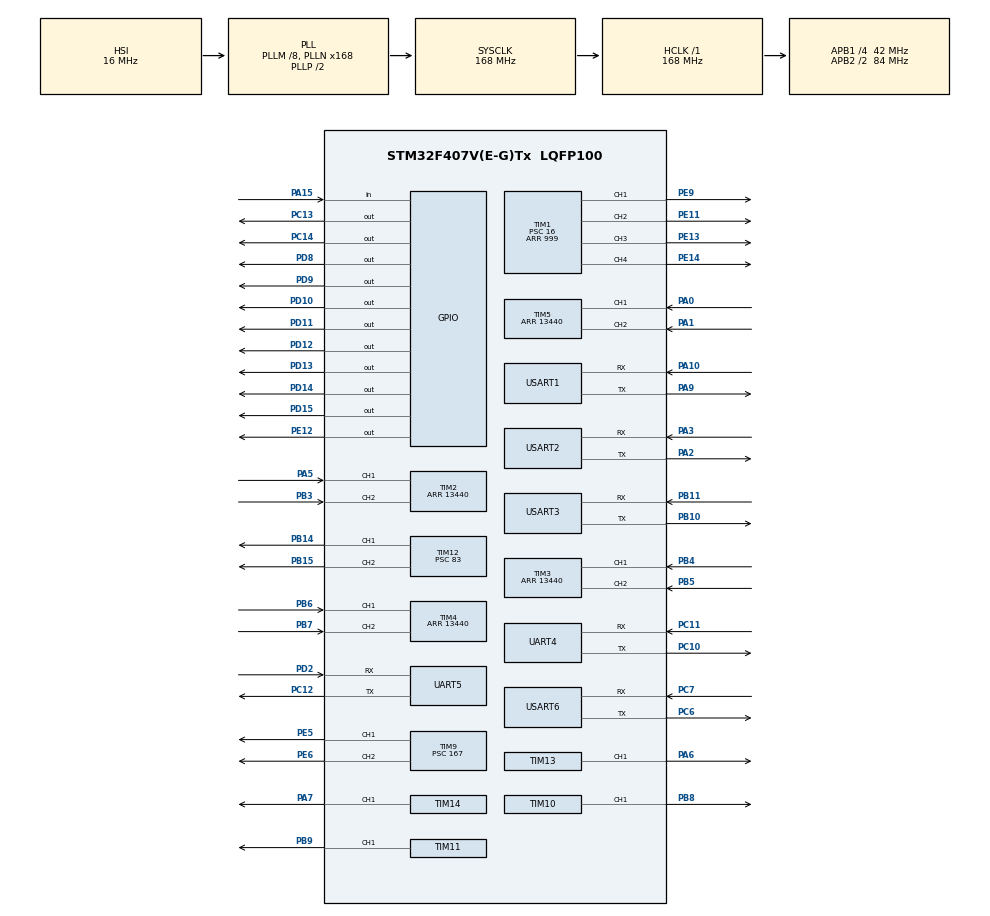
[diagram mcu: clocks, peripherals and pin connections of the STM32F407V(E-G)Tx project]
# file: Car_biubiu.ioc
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Dma.Request0=USART1_RX
Dma.Request1=USART1_TX
Dma.Request2=USART2_RX
Dma.Request3=USART6_RX
Dma.Request4=USART3_RX
Dma.Request5=USART3_TX
Dma.Request6=USART6_TX
Dma.Request7=UART4_RX
Dma.Request8=UART5_RX
Dma.UART4_RX.7.Direction=DMA_PERIPH_TO_MEMORY
Dma.UART4_RX.7.FIFOMode=DMA_FIFOMODE_DISABLE
Dma.UART4_RX.7.Instance=DMA1_Stream2
Dma.UART4_RX.7.MemDataAlignment=DMA_MDATAALIGN_BYTE
Dma.UART4_RX.7.MemInc=DMA_MINC_ENABLE
Dma.UART4_RX.7.Mode=DMA_NORMAL
Dma.UART4_RX.7.PeriphDataAlignment=DMA_PDATAALIGN_BYTE
Dma.UART4_RX.7.PeriphInc=DMA_PINC_DISABLE
Dma.UART4_RX.7.Priority=DMA_PRIORITY_LOW
Dma.UART5_RX.8.Direction=DMA_PERIPH_TO_MEMORY
Dma.UART5_RX.8.FIFOMode=DMA_FIFOMODE_DISABLE
Dma.UART5_RX.8.Instance=DMA1_Stream0
Dma.UART5_RX.8.MemDataAlignment=DMA_MDATAALIGN_BYTE
Dma.UART5_RX.8.MemInc=DMA_MINC_ENABLE
Dma.UART5_RX.8.Mode=DMA_NORMAL
Dma.UART5_RX.8.PeriphDataAlignment=DMA_PDATAALIGN_BYTE
Dma.UART5_RX.8.PeriphInc=DMA_PINC_DISABLE
Dma.UART5_RX.8.Priority=DMA_PRIORITY_LOW
Dma.USART1_RX.0.Direction=DMA_PERIPH_TO_MEMORY
Dma.USART1_RX.0.FIFOMode=DMA_FIFOMODE_DISABLE
Dma.USART1_RX.0.Instance=DMA2_Stream2
Dma.USART1_RX.0.MemDataAlignment=DMA_MDATAALIGN_BYTE
Dma.USART1_RX.0.MemInc=DMA_MINC_ENABLE
Dma.USART1_RX.0.Mode=DMA_NORMAL
Dma.USART1_RX.0.PeriphDataAlignment=DMA_PDATAALIGN_BYTE
Dma.USART1_RX.0.PeriphInc=DMA_PINC_DISABLE
Dma.USART1_RX.0.Priority=DMA_PRIORITY_MEDIUM
Dma.USART1_TX.1.Direction=DMA_MEMORY_TO_PERIPH
Dma.USART1_TX.1.FIFOMode=DMA_FIFOMODE_DISABLE
Dma.USART1_TX.1.Instance=DMA2_Stream7
Dma.USART1_TX.1.MemDataAlignment=DMA_MDATAALIGN_BYTE
Dma.USART1_TX.1.MemInc=DMA_MINC_ENABLE
Dma.USART1_TX.1.Mode=DMA_NORMAL
Dma.USART1_TX.1.PeriphDataAlignment=DMA_PDATAALIGN_BYTE
Dma.USART1_TX.1.PeriphInc=DMA_PINC_DISABLE
Dma.USART1_TX.1.Priority=DMA_PRIORITY_MEDIUM
Dma.USART2_RX.2.Direction=DMA_PERIPH_TO_MEMORY
Dma.USART2_RX.2.FIFOMode=DMA_FIFOMODE_DISABLE
Dma.USART2_RX.2.Instance=DMA1_Stream5
Dma.USART2_RX.2.MemDataAlignment=DMA_MDATAALIGN_BYTE
Dma.USART2_RX.2.MemInc=DMA_MINC_ENABLE
Dma.USART2_RX.2.Mode=DMA_NORMAL
Dma.USART2_RX.2.PeriphDataAlignment=DMA_PDATAALIGN_BYTE
Dma.USART2_RX.2.PeriphInc=DMA_PINC_DISABLE
Dma.USART2_RX.2.Priority=DMA_PRIORITY_MEDIUM
Dma.USART3_RX.4.Direction=DMA_PERIPH_TO_MEMORY
Dma.USART3_RX.4.FIFOMode=DMA_FIFOMODE_DISABLE
Dma.USART3_RX.4.Instance=DMA1_Stream1
Dma.USART3_RX.4.MemDataAlignment=DMA_MDATAALIGN_BYTE
Dma.USART3_RX.4.MemInc=DMA_MINC_ENABLE
Dma.USART3_RX.4.Mode=DMA_NORMAL
Dma.USART3_RX.4.PeriphDataAlignment=DMA_PDATAALIGN_BYTE
Dma.USART3_RX.4.PeriphInc=DMA_PINC_DISABLE
Dma.USART3_RX.4.Priority=DMA_PRIORITY_LOW
Dma.USART3_TX.5.Direction=DMA_MEMORY_TO_PERIPH
Dma.USART3_TX.5.FIFOMode=DMA_FIFOMODE_DISABLE
Dma.USART3_TX.5.Instance=DMA1_Stream3
Dma.USART3_TX.5.MemDataAlignment=DMA_MDATAALIGN_BYTE
Dma.USART3_TX.5.MemInc=DMA_MINC_ENABLE
Dma.USART3_TX.5.Mode=DMA_NORMAL
Dma.USART3_TX.5.PeriphDataAlignment=DMA_PDATAALIGN_BYTE
Dma.USART3_TX.5.PeriphInc=DMA_PINC_DISABLE
Dma.USART3_TX.5.Priority=DMA_PRIORITY_LOW
Dma.USART6_RX.3.Direction=DMA_PERIPH_TO_MEMORY
Dma.USART6_RX.3.FIFOMode=DMA_FIFOMODE_DISABLE
Dma.USART6_RX.3.Instance=DMA2_Stream1
Dma.USART6_RX.3.MemDataAlignment=DMA_MDATAALIGN_BYTE
Dma.USART6_RX.3.MemInc=DMA_MINC_ENABLE
Dma.USART6_RX.3.Mode=DMA_NORMAL
Dma.USART6_RX.3.PeriphDataAlignment=DMA_PDATAALIGN_BYTE
Dma.USART6_RX.3.PeriphInc=DMA_PINC_DISABLE
Dma.USART6_RX.3.Priority=DMA_PRIORITY_LOW
Dma.USART6_TX.6.Direction=DMA_MEMORY_TO_PERIPH
Dma.USART6_TX.6.FIFOMode=DMA_FIFOMODE_DISABLE
Dma.USART6_TX.6.Instance=DMA2_Stream6
Dma.USART6_TX.6.MemDataAlignment=DMA_MDATAALIGN_BYTE
Dma.USART6_TX.6.MemInc=DMA_MINC_ENABLE
Dma.USART6_TX.6.Mode=DMA_NORMAL
Dma.USART6_TX.6.PeriphDataAlignment=DMA_PDATAALIGN_BYTE
Dma.USART6_TX.6.PeriphInc=DMA_PINC_DISABLE
Dma.USART6_TX.6.Priority=DMA_PRIORITY_LOW
FREERTOS.Tasks01=defaultTask,-3,128,StartDefaultTask,Default,NULL,Dynamic,NULL,NULL;myTask_key,1,128,key_Task,Default,NULL,Dynamic,NULL,NULL;myTask_led,-3,128,led_Task,Default,NULL,Dynamic,NULL,NULL;myTask_IMU,0,256,IMU_Task,Default,NULL,Dynamic,NULL,NULL;myTask_debug,-2,512,deubg_Task,Default,NULL,Dynamic,NULL,NULL;myTask_motor,1,256,motor_Task,Default,NULL,Dynamic,NULL,NULL;myTask_usart,0,512,usart_Task,Default,NULL,Dynamic,NULL,NULL;myTask_oled,-2,128,oled_Task,Default,NULL,Dynamic,NULL,NULL;myTask_servo,1,256,servo_Task,Default,NULL,Dynamic,NULL,NULL;myTask_speed,2,128,speed_Task,Default,NULL,Dynamic,NULL,NULL;myTask_pid,2,256,pid_Task,Default,NULL,Dynamic,NULL,NULL;myTask_doing,2,512,doing_Task,Default,NULL,Dynamic,NULL,NULL
Mcu.Family=STM32F4
Mcu.Name=STM32F407V(E-G)Tx
Mcu.Package=LQFP100
NVIC.DMA1_Stream0_IRQn=true\:5\:0\:false\:false\:true\:true\:false\:true
NVIC.DMA1_Stream1_IRQn=true\:5\:0\:false\:false\:true\:true\:false\:true
NVIC.DMA1_Stream2_IRQn=true\:5\:0\:false\:false\:true\:true\:false\:true
NVIC.DMA1_Stream3_IRQn=true\:5\:0\:false\:false\:true\:true\:false\:true
NVIC.DMA1_Stream5_IRQn=true\:5\:0\:true\:false\:true\:true\:false\:true
NVIC.DMA2_Stream1_IRQn=true\:5\:0\:false\:false\:true\:true\:false\:true
NVIC.DMA2_Stream2_IRQn=true\:5\:0\:false\:false\:true\:true\:false\:true
NVIC.DMA2_Stream6_IRQn=true\:5\:0\:false\:false\:true\:true\:false\:true
NVIC.DMA2_Stream7_IRQn=true\:5\:0\:false\:false\:true\:true\:false\:true
NVIC.PriorityGroup=NVIC_PRIORITYGROUP_4
NVIC.TIM2_IRQn=true\:5\:0\:false\:false\:true\:true\:true\:true
NVIC.TIM3_IRQn=true\:5\:0\:false\:false\:true\:true\:true\:true
NVIC.TIM4_IRQn=true\:5\:0\:false\:false\:true\:true\:true\:true
NVIC.TIM5_IRQn=true\:5\:0\:false\:false\:true\:true\:true\:true
NVIC.TIM6_DAC_IRQn=true\:5\:0\:false\:false\:true\:true\:true\:true
NVIC.TIM7_IRQn=true\:0\:0\:false\:false\:true\:false\:false\:true
NVIC.TimeBase=TIM7_IRQn
NVIC.TimeBaseIP=TIM7
NVIC.UART4_IRQn=true\:5\:0\:false\:false\:true\:true\:true\:true
NVIC.UART5_IRQn=true\:5\:0\:false\:false\:true\:true\:true\:true
NVIC.USART1_IRQn=true\:5\:0\:true\:false\:true\:true\:true\:true
NVIC.USART2_IRQn=true\:5\:0\:true\:false\:true\:true\:true\:true
NVIC.USART3_IRQn=true\:5\:0\:false\:false\:true\:true\:true\:true
NVIC.USART6_IRQn=true\:5\:0\:false\:false\:true\:true\:true\:true
PA0-WKUP.Signal=S_TIM5_CH1
PA1.Signal=S_TIM5_CH2
PA10.Mode=Asynchronous
PA10.Signal=USART1_RX
PA13.Mode=Serial_Wire
PA13.Signal=SYS_JTMS-SWDIO
PA14.Mode=Serial_Wire
PA14.Signal=SYS_JTCK-SWCLK
PA15.GPIO_PuPd=GPIO_PULLUP
PA15.Signal=GPIO_Input
PA2.Mode=Asynchronous
PA2.Signal=USART2_TX
PA3.Mode=Asynchronous
PA3.Signal=USART2_RX
PA5.Signal=S_TIM2_CH1_ETR
PA6.Signal=S_TIM13_CH1
PA7.Signal=S_TIM14_CH1
PA9.Mode=Asynchronous
PA9.Signal=USART1_TX
PB10.Mode=Asynchronous
PB10.Signal=USART3_TX
PB11.Mode=Asynchronous
PB11.Signal=USART3_RX
PB14.Signal=S_TIM12_CH1
PB15.Signal=S_TIM12_CH2
PB3.Signal=S_TIM2_CH2
PB4.Signal=S_TIM3_CH1
PB5.Signal=S_TIM3_CH2
PB6.Signal=S_TIM4_CH1
PB7.Signal=S_TIM4_CH2
PB8.Signal=S_TIM10_CH1
PB9.Signal=S_TIM11_CH1
PC10.Mode=Asynchronous
PC10.Signal=UART4_TX
PC11.Mode=Asynchronous
PC11.Signal=UART4_RX
PC12.Mode=Asynchronous
PC12.Signal=UART5_TX
PC13-ANTI_TAMP.GPIO_Speed=GPIO_SPEED_FREQ_LOW
PC13-ANTI_TAMP.Signal=GPIO_Output
PC14-OSC32_IN.Signal=GPIO_Output
PC6.Mode=Asynchronous
PC6.Signal=USART6_TX
PC7.Mode=Asynchronous
PC7.Signal=USART6_RX
PD10.Signal=GPIO_Output
PD11.Signal=GPIO_Output
PD12.Signal=GPIO_Output
PD13.Signal=GPIO_Output
PD14.Signal=GPIO_Output
PD15.Signal=GPIO_Output
PD2.Mode=Asynchronous
PD2.Signal=UART5_RX
PD8.Signal=GPIO_Output
PD9.Signal=GPIO_Output
PE11.Signal=S_TIM1_CH2
PE12.Signal=GPIO_Output
PE13.Signal=S_TIM1_CH3
PE14.Signal=S_TIM1_CH4
PE5.Signal=S_TIM9_CH1
PE6.Signal=S_TIM9_CH2
PE9.Signal=S_TIM1_CH1
PH0-OSC_IN.Mode=HSE-External-Oscillator
PH0-OSC_IN.Signal=RCC_OSC_IN
PH1-OSC_OUT.Mode=HSE-External-Oscillator
PH1-OSC_OUT.Signal=RCC_OSC_OUT
ProjectManager.HeapSize=0x200
ProjectManager.StackSize=0x400
ProjectManager.TargetToolchain=MDK-ARM V5.27
RCC.48MHZClocksFreq_Value=84000000
RCC.AHBFreq_Value=168000000
RCC.APB1CLKDivider=RCC_HCLK_DIV4
RCC.APB1Freq_Value=42000000
RCC.APB1TimFreq_Value=84000000
RCC.APB2CLKDivider=RCC_HCLK_DIV2
RCC.APB2Freq_Value=84000000
RCC.APB2TimFreq_Value=168000000
RCC.CortexFreq_Value=168000000
RCC.HCLKFreq_Value=168000000
RCC.HSE_VALUE=8000000
RCC.HSI_VALUE=16000000
RCC.LSE_VALUE=32768
RCC.PLLM=8
RCC.PLLN=168
RCC.SYSCLKFreq_VALUE=168000000
RCC.SYSCLKSource=RCC_SYSCLKSOURCE_PLLCLK
RCC.VCOOutputFreq_Value=336000000
SH.S_TIM10_CH1.0=TIM10_CH1,PWM Generation1 CH1
SH.S_TIM11_CH1.0=TIM11_CH1,PWM Generation1 CH1
SH.S_TIM12_CH1.0=TIM12_CH1,PWM Generation1 CH1
SH.S_TIM12_CH2.0=TIM12_CH2,PWM Generation2 CH2
SH.S_TIM13_CH1.0=TIM13_CH1,PWM Generation1 CH1
SH.S_TIM14_CH1.0=TIM14_CH1,PWM Generation1 CH1
SH.S_TIM1_CH1.0=TIM1_CH1,PWM Generation1 CH1
SH.S_TIM1_CH2.0=TIM1_CH2,PWM Generation2 CH2
SH.S_TIM1_CH3.0=TIM1_CH3,PWM Generation3 CH3
SH.S_TIM1_CH4.0=TIM1_CH4,PWM Generation4 CH4
SH.S_TIM2_CH1_ETR.0=TIM2_CH1,Encoder_Interface
SH.S_TIM2_CH2.0=TIM2_CH2,Encoder_Interface
SH.S_TIM3_CH1.0=TIM3_CH1,Encoder_Interface
SH.S_TIM3_CH2.0=TIM3_CH2,Encoder_Interface
SH.S_TIM4_CH1.0=TIM4_CH1,Encoder_Interface
SH.S_TIM4_CH2.0=TIM4_CH2,Encoder_Interface
SH.S_TIM5_CH1.0=TIM5_CH1,Encoder_Interface
SH.S_TIM5_CH2.0=TIM5_CH2,Encoder_Interface
SH.S_TIM9_CH1.0=TIM9_CH1,PWM Generation1 CH1
SH.S_TIM9_CH2.0=TIM9_CH2,PWM Generation2 CH2
TIM1.Channel-PWM\ Generation1\ CH1=TIM_CHANNEL_1
TIM1.Channel-PWM\ Generation2\ CH2=TIM_CHANNEL_2
TIM1.Channel-PWM\ Generation3\ CH3=TIM_CHANNEL_3
TIM1.Channel-PWM\ Generation4\ CH4=TIM_CHANNEL_4
TIM1.Period=999
TIM1.Prescaler=16
TIM10.Channel=TIM_CHANNEL_1
TIM10.Period=19999
TIM10.Prescaler=167
TIM11.Channel=TIM_CHANNEL_1
TIM11.Period=19999
TIM11.Prescaler=167
TIM12.Channel-PWM\ Generation1\ CH1=TIM_CHANNEL_1
TIM12.Channel-PWM\ Generation2\ CH2=TIM_CHANNEL_2
TIM12.Period=19999
TIM12.Prescaler=83
TIM13.Channel=TIM_CHANNEL_1
TIM13.Period=999
TIM13.Prescaler=1679
TIM14.Channel=TIM_CHANNEL_1
TIM14.Period=999
TIM14.Prescaler=1679
TIM2.EncoderMode=TIM_ENCODERMODE_TI12
TIM2.Period=13440
TIM3.EncoderMode=TIM_ENCODERMODE_TI12
TIM3.Period=13440
TIM4.EncoderMode=TIM_ENCODERMODE_TI12
TIM4.Period=13440
TIM5.EncoderMode=TIM_ENCODERMODE_TI12
TIM5.Period=13440
TIM6.Period=9999
TIM6.Prescaler=83
TIM9.Channel-PWM\ Generation1\ CH1=TIM_CHANNEL_1
TIM9.Channel-PWM\ Generation2\ CH2=TIM_CHANNEL_2
TIM9.Period=19999
TIM9.Prescaler=167
UART4.VirtualMode=Asynchronous
UART5.VirtualMode=Asynchronous
USART1.VirtualMode=VM_ASYNC
USART2.VirtualMode=VM_ASYNC
USART3.VirtualMode=VM_ASYNC
USART6.VirtualMode=VM_ASYNC
VP_FREERTOS_VS_CMSIS_V1.Mode=CMSIS_V1
VP_SYS_VS_tim7.Mode=TIM7
VP_TIM10_VS_ClockSourceINT.Mode=Enable_Timer
VP_TIM11_VS_ClockSourceINT.Mode=Enable_Timer
VP_TIM13_VS_ClockSourceINT.Mode=Enable_Timer
VP_TIM14_VS_ClockSourceINT.Mode=Enable_Timer
VP_TIM6_VS_ClockSourceINT.Mode=Enable_Timer
board=custom

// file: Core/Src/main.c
/* USER CODE BEGIN Header */
/**
  ******************************************************************************
  * @file           : main.c
  * @brief          : Main program body
  ******************************************************************************
  * @attention

  ******************************************************************************
  */
/* USER CODE END Header */
#include "main.h"
#include "cmsis_os.h"
#include "dma.h"
#include "tim.h"
#include "usart.h"
#include "gpio.h"

/* USER CODE BEGIN Includes */
#include "JY61.h"
#include "motor_ctrl.h"
#include "servo.h"
#include "fashion_star_uart_servo.h"
#include "ring_buffer.h"
/* USER CODE END Includes */

/* USER CODE BEGIN PTD */
uint8_t usart4SendBuf[USART_SEND_BUF_SIZE + 1];
uint8_t usart4RecvBuf[USART_RECV_BUF_SIZE + 1];
RingBufferTypeDef usart4SendRingBuf;
RingBufferTypeDef usart4RecvRingBuf;
Usart_DataTypeDef usart4;
extern uint8_t date;
/* USER CODE END PTD */

void SystemClock_Config(void);
void MX_FREERTOS_Init(void);

int main(void)
{

  /* MCU Configuration--------------------------------------------------------*/

  /* Reset of all peripherals, Initializes the Flash interface and the Systick. */
  HAL_Init();

  /* Configure the system clock */
  SystemClock_Config();

  /* Initialize all configured peripherals */
  MX_GPIO_Init();
  MX_DMA_Init();
  MX_USART1_UART_Init();
  MX_USART2_UART_Init();
  MX_USART3_UART_Init();
  MX_TIM1_Init();
  MX_TIM2_Init();
  MX_TIM3_Init();
  MX_TIM4_Init();
  MX_TIM5_Init();
  MX_TIM6_Init();
  MX_TIM9_Init();
  MX_TIM10_Init();
  MX_TIM11_Init();
  MX_TIM12_Init();
  MX_TIM13_Init();
  MX_TIM14_Init();
  MX_UART4_Init();
  MX_UART5_Init();
  MX_USART6_UART_Init();
  /* USER CODE BEGIN 2 */
  motor_tim_config(); // 电机PWM初始化、编码器定时器初始化

  //  servo_config(); // 舵机PWM初始化
  // 电机速度控制为0
  speed_ctrl(Motor1, 0);
  speed_ctrl(Motor2, 0);
  speed_ctrl(Motor3, 0);
  speed_ctrl(Motor4, 0);

  printf("BSP初始化OK\n");
  // MPU6050初始化。
//  WitInit(WIT_PROTOCOL_NORMAL, 0x50);
//  WitSerialWriteRegister(SensorUartSend);
//  WitRegisterCallBack(SensorDataUpdata);
//  WitDelayMsRegister(Delayms);
  uint8_t i = 0;
  HAL_TIM_Base_Start_IT(&htim6); // 基础定时器初始化
  // 赋值结构体usart指针
  usart4.pUSARTx = &huart4;
  // 初始化缓冲区(环形队列)
  RingBuffer_Init(&usart4SendRingBuf, USART_SEND_BUF_SIZE, usart4SendBuf);
  RingBuffer_Init(&usart4RecvRingBuf, USART_RECV_BUF_SIZE, usart4RecvBuf);
  usart4.recvBuf = &usart4RecvRingBuf;
  usart4.sendBuf = &usart4SendRingBuf;

  HAL_Delay(200);
  FSUS_SetServoAngle(&usart4, 1, 2, 2000, 0, 0);
  HAL_Delay(200);
  FSUS_SetServoAngle(&usart4, 2, 5, 2000, 0, 0);
  HAL_Delay(200);
  FSUS_SetServoAngle(&usart4, 3, -135, 2000, 0, 0);
  HAL_Delay(200);
  FSUS_SetServoAngle(&usart4, 4, 55, 2000, 0, 0);
  HAL_Delay(200);
  FSUS_SetServoAngle(&usart4, 5, 0, 2000, 0, 0);
  HAL_Delay(200);

  HAL_UART_Receive_IT(&huart4, &date, 1);
  while ((GPIOC->IDR & (1 << 1)) != 0)
  {
    if (i > 100)
    {
      V831_die();
      V831_2_die();
      i = 0;
    }
    i++;
    HAL_Delay(10);
  }
  printf("开始了\n");
  HAL_Delay(1000);

  /* USER CODE END 2 */

  /* Call init function for freertos objects (in freertos.c) */
  MX_FREERTOS_Init();
  /* Start scheduler */
  osKernelStart();

  /* We should never get here as control is now taken by the scheduler */
  /* Infinite loop */
  while (1)
  {

  }
}

void SystemClock_Config(void)
{
  RCC_OscInitTypeDef RCC_OscInitStruct = {0};
  RCC_ClkInitTypeDef RCC_ClkInitStruct = {0};

  /** Configure the main internal regulator output voltage
   */
  __HAL_RCC_PWR_CLK_ENABLE();
  __HAL_PWR_VOLTAGESCALING_CONFIG(PWR_REGULATOR_VOLTAGE_SCALE1);
  /** Initializes the RCC Oscillators according to the specified parameters
   * in the RCC_OscInitTypeDef structure.
   */
  RCC_OscInitStruct.OscillatorType = RCC_OSCILLATORTYPE_HSI;
  RCC_OscInitStruct.HSIState = RCC_HSI_ON;
  RCC_OscInitStruct.HSICalibrationValue = RCC_HSICALIBRATION_DEFAULT;
  RCC_OscInitStruct.PLL.PLLState = RCC_PLL_ON;
  RCC_OscInitStruct.PLL.PLLSource = RCC_PLLSOURCE_HSI;
  RCC_OscInitStruct.PLL.PLLM = 8;
  RCC_OscInitStruct.PLL.PLLN = 168;
  RCC_OscInitStruct.PLL.PLLP = RCC_PLLP_DIV2;
  RCC_OscInitStruct.PLL.PLLQ = 4;
  if (HAL_RCC_OscConfig(&RCC_OscInitStruct) != HAL_OK)
  {
    Error_Handler();
  }
  /** Initializes the CPU, AHB and APB buses clocks
   */
  RCC_ClkInitStruct.ClockType = RCC_CLOCKTYPE_HCLK | RCC_CLOCKTYPE_SYSCLK | RCC_CLOCKTYPE_PCLK1 | RCC_CLOCKTYPE_PCLK2;
  RCC_ClkInitStruct.SYSCLKSource = RCC_SYSCLKSOURCE_PLLCLK;
  RCC_ClkInitStruct.AHBCLKDivider = RCC_SYSCLK_DIV1;
  RCC_ClkInitStruct.APB1CLKDivider = RCC_HCLK_DIV4;
  RCC_ClkInitStruct.APB2CLKDivider = RCC_HCLK_DIV2;

  if (HAL_RCC_ClockConfig(&RCC_ClkInitStruct, FLASH_LATENCY_5) != HAL_OK)
  {
    Error_Handler();
  }
}

/* USER CODE BEGIN 4 */
volatile uint32_t ulHighFrequencyTimerTicks;
/* USER CODE END 4 */

void HAL_TIM_PeriodElapsedCallback(TIM_HandleTypeDef *htim)
{
  /* USER CODE BEGIN Callback 0 */
  extern __IO uint32_t sysTickCnt;
  /* USER CODE END Callback 0 */
  if (htim->Instance == TIM7)
  {
    HAL_IncTick();
  }
  /* USER CODE BEGIN Callback 1 */
  if (htim->Instance == TIM6)
  {
    if (sysTickCnt > 0)
    {
      sysTickCnt--;
    }
    else
    {
      sysTickCnt = 0;
    }
  }
  /* USER CODE END Callback 1 */
}

void Error_Handler(void)
{
  __disable_irq();
  while (1)
  {
  }
}

/************************ (C) COPYRIGHT STMicroelectronics *****END OF FILE****/

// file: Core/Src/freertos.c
/* USER CODE BEGIN Header */
/**
 ******************************************************************************
 * File Name          : freertos.c
 * Description        : Code for freertos applications
 ******************************************************************************
 * @attention
 *
 * <h2><center>&copy; Copyright (c) 2023 STMicroelectronics.
 * All rights reserved.</center></h2>
 *
 * This software component is licensed by ST under Ultimate Liberty license
 * SLA0044, the "License"; You may not use this file except in compliance with
 * the License. You may obtain a copy of the License at:
 *                             www.st.com/SLA0044
 *
 ******************************************************************************
 */
/* USER CODE END Header */

#include "FreeRTOS.h"
#include "task.h"
#include "main.h"
#include "cmsis_os.h"

/* USER CODE BEGIN Includes */
#include "soft_user.h"
#include "string.h"
#include "JY61.h"
#include "servo.h"
#include "dma.h"
#include "tim.h"
#include "usart.h"
#include "gpio.h"
#include "motor_ctrl.h"
#include "pid.h"
#include "HI229.h"
#include "fashion_star_uart_servo.h"
// #include "HI229.h"
/* USER CODE END Includes */

/* USER CODE BEGIN PD */
#define Led_Toggle GPIOC->ODR ^= GPIO_PIN_13 // LED_Toggle函数宏定义
#define IMU_speed 80                         // IMU数据采集处理频率控制参数
// #define JY61
#define turn_angle 0f

#define UNUSED_VARIABLE(X) ((void)(X))
#define UNUSED_PARAMETER(X) UNUSED_VARIABLE(X)
/* USER CODE END PD */

/* USER CODE BEGIN PM */

extern char s_cDataUpdate, s_cCmd; // MPU6050移植参数，不用管

extern servo_status servo_motion[];

extern Usart_DataTypeDef usart4;

uint8_t OS_status = 0; // 任务初始化标志位，为1则初始化OK，为0则还没有嘞

uint8_t debug_date[600] = {0}; // debug数据缓存区，用于缓存需要用来上传的debug数据。

uint8_t IMU_date[IMU_speed] = {0}; // MPU6050数据缓冲区、采用DMA+串口方式接收

uint8_t usart_3_date[25] = {0};
uint8_t usart_6_date[22] = {0};

uint16_t modetime = 100;

Usart_DataTypeDef *servoUsart = &usart4;

raw_t raw = {0};     /* IMU stram read/control struct */
uint8_t decode_succ; /* 0: no new frame arrived, 1: new frame arrived */
uint8_t Task_verify = Start;
/* USER CODE END PM */

/* USER CODE BEGIN Variables */
SemaphoreHandle_t IMUdate_RX_Sem_Handle = NULL; // 信号量初始化，用于作为IMU数据接收完成后的回响，开启IMU_TASK函数的执行。

SemaphoreHandle_t usart3_RX_Sem_Handle = NULL;

SemaphoreHandle_t usart6_RX_Sem_Handle = NULL;

SemaphoreHandle_t Servo_Sem_Handle = NULL;

QueueHandle_t Speed_Queue = NULL;
QueueHandle_t goal_Queue = NULL;
QueueHandle_t IMU_Queue = NULL;
QueueHandle_t debug_Queue = NULL;
QueueHandle_t angle_Queue = NULL;
QueueHandle_t servo_Queue = NULL;
QueueHandle_t distance_Queue = NULL;
QueueHandle_t color_Queue = NULL;
QueueHandle_t IDR_date_Queue = NULL;
/* USER CODE END Variables */
osThreadId defaultTaskHandle;
osThreadId myTask_keyHandle;
osThreadId myTask_ledHandle;
osThreadId myTask_IMUHandle;
osThreadId myTask_debugHandle;
osThreadId debug_getHandle;
osThreadId myTask_usartHandle;
osThreadId myTask_oledHandle;
osThreadId myTask_servoHandle;
osThreadId myTask_speedHandle;
osThreadId myTask_pidHandle;
osThreadId myTask_doingHandle;

void StartDefaultTask(void const *argument);
void key_Task(void const *argument);
void led_Task(void const *argument);
void IMU_Task(void const *argument);
void deubg_Task(void const *argument);
void debug_get_Task(void const *argument);
void usart_Task(void const *argument);
void oled_Task(void const *argument);
void servo_Task(void const *argument);
void speed_Task(void const *argument);
void pid_Task(void const *argument);
void doing_Task(void const *argument);

void MX_FREERTOS_Init(void); /* (MISRA C 2004 rule 8.1) */

/* GetIdleTaskMemory prototype (linked to static allocation support) */
void vApplicationGetIdleTaskMemory(StaticTask_t **ppxIdleTaskTCBBuffer, StackType_t **ppxIdleTaskStackBuffer, uint32_t *pulIdleTaskStackSize);

/* USER CODE BEGIN GET_IDLE_TASK_MEMORY */
static StaticTask_t xIdleTaskTCBBuffer;
static StackType_t xIdleStack[configMINIMAL_STACK_SIZE];

void vApplicationGetIdleTaskMemory(StaticTask_t **ppxIdleTaskTCBBuffer, StackType_t **ppxIdleTaskStackBuffer, uint32_t *pulIdleTaskStackSize)
{
    *ppxIdleTaskTCBBuffer = &xIdleTaskTCBBuffer;
    *ppxIdleTaskStackBuffer = &xIdleStack[0];
    *pulIdleTaskStackSize = configMINIMAL_STACK_SIZE;
    /* place for user code */
}
/* USER CODE END GET_IDLE_TASK_MEMORY */

void MX_FREERTOS_Init(void)
{

    /* USER CODE BEGIN RTOS_SEMAPHORES */
    /* add semaphores, ... */
    // IMUdate_RX_Sem_Handle二值信号量创建
    IMUdate_RX_Sem_Handle = xSemaphoreCreateBinary();

    usart3_RX_Sem_Handle = xSemaphoreCreateBinary();

    usart6_RX_Sem_Handle = xSemaphoreCreateBinary();

    Servo_Sem_Handle = xSemaphoreCreateBinary();
    /* USER CODE END RTOS_SEMAPHORES */

    /* USER CODE BEGIN RTOS_QUEUES */
    /* add queues, ... */
    Speed_Queue = xQueueCreate((UBaseType_t)1, /* 消息队列的长度 */ // 实时速度参数传递消息队列
                               (UBaseType_t)sizeof(biu));           /* 消息的大小 */
    goal_Queue = xQueueCreate((UBaseType_t)2, /* 消息队列的长度 */  // 目标速度传递消息队列
                              (UBaseType_t)sizeof(biu));            /* 消息的大小 */
    IMU_Queue = xQueueCreate((UBaseType_t)1,                        /* 消息队列的长度 */
                             (UBaseType_t)sizeof(imu));             /* 消息的大小 */
    debug_Queue = xQueueCreate((UBaseType_t)1,                      /* 消息队列的长度 */
                               (UBaseType_t)sizeof(biu));           /* 消息的大小 */
    angle_Queue = xQueueCreate((UBaseType_t)1,                      /* 消息队列的长度 */
                               (UBaseType_t)sizeof(imu));           /* 消息的大小 */
    servo_Queue = xQueueCreate((UBaseType_t)1,                      /* 消息队列的长度 */
                               (UBaseType_t)sizeof(servo_status));  /* 消息的大小 */
    distance_Queue = xQueueCreate((UBaseType_t)1,                   /* 消息队列的长度 */
                                  (UBaseType_t)sizeof(biu));        /* 消息的大小 */
    color_Queue = xQueueCreate((UBaseType_t)1,                      /* 消息队列的长度 */
                               (UBaseType_t)sizeof(biu_int_16));    /* 消息的大小 */
    IDR_date_Queue = xQueueCreate((UBaseType_t)1,                   /* 消息队列的长度 */
                                  (UBaseType_t)sizeof(IDR_date));   /* 消息的大小 */
    /* USER CODE END RTOS_QUEUES */

    /* Create the thread(s) */
    /* definition and creation of defaultTask */
    osThreadDef(defaultTask, StartDefaultTask, osPriorityAboveNormal, 0, 128);
    defaultTaskHandle = osThreadCreate(osThread(defaultTask), NULL);

    /* definition and creation of myTask_key */
    osThreadDef(myTask_key, key_Task, osPriorityAboveNormal, 0, 128);
    myTask_keyHandle = osThreadCreate(osThread(myTask_key), NULL);

    /* definition and creation of myTask_led */
    osThreadDef(myTask_led, led_Task, osPriorityIdle, 0, 128);
    myTask_ledHandle = osThreadCreate(osThread(myTask_led), NULL);

    /* definition and creation of myTask_IMU */
    osThreadDef(myTask_IMU, IMU_Task, osPriorityNormal, 0, 256);
    myTask_IMUHandle = osThreadCreate(osThread(myTask_IMU), NULL);

    /* definition and creation of myTask_debug */
    osThreadDef(myTask_debug, deubg_Task, osPriorityLow, 0, 512);
    myTask_debugHandle = osThreadCreate(osThread(myTask_debug), NULL);

    /* definition and creation of debug_get */
    osThreadDef(debug_get, debug_get_Task, osPriorityAboveNormal, 0, 256);
    debug_getHandle = osThreadCreate(osThread(debug_get), NULL);

    /* definition and creation of myTask_usart */
    osThreadDef(myTask_usart, usart_Task, osPriorityNormal, 0, 512);
    myTask_usartHandle = osThreadCreate(osThread(myTask_usart), NULL);

    /* definition and creation of myTask_oled */
    osThreadDef(myTask_oled, oled_Task, osPriorityLow, 0, 128);
    myTask_oledHandle = osThreadCreate(osThread(myTask_oled), NULL);

    /* definition and creation of myTask_servo */
    osThreadDef(myTask_servo, servo_Task, osPriorityHigh, 0, 128);
    myTask_servoHandle = osThreadCreate(osThread(myTask_servo), NULL);

    /* definition and creation of myTask_speed */
    osThreadDef(myTask_speed, speed_Task, osPriorityHigh, 0, 128);
    myTask_speedHandle = osThreadCreate(osThread(myTask_speed), NULL);

    /* definition and creation of myTask_pid */
    osThreadDef(myTask_pid, pid_Task, osPriorityHigh, 0, 128);
    myTask_pidHandle = osThreadCreate(osThread(myTask_pid), NULL);

    /* definition and creation of myTask_doing */
    osThreadDef(myTask_doing, doing_Task, osPriorityHigh, 0, 512);
    myTask_doingHandle = osThreadCreate(osThread(myTask_doing), NULL);

}

/* USER CODE BEGIN Header_StartDefaultTask */
/**
 * @brief  优先级最低的任务，点个灯在里面，可以通过观察led闪烁情况观察任务运行情况，
 *          如果不稳定，则任务优先级、缓存分配存在问题
 * @param  argument: Not used
 * @retval None
 */
/* USER CODE END Header_StartDefaultTask */
void StartDefaultTask(void const *argument)
{
    /* USER CODE BEGIN StartDefaultTask */
    /* Infinite loop */
    for (;;)
    {
        Led_Toggle;

        osDelay(100);
    }
    /* USER CODE END StartDefaultTask */
}

/* USER CODE BEGIN Header_key_Task */
/**
 * @brief 按键任务，用于检测按键触发，没有使用中断方式（不稳定而且占用资源），这里使用轮询方式依然很nice
 * @param argument: Not used
 * @retval None
 */
/* USER CODE END Header_key_Task */
void key_Task(void const *argument)
{
    /* USER CODE BEGIN key_Task */
    /* Infinite loop */

    for (;;)
    {
        if ((GPIOC->IDR & (1 << 0)) == 0)
        {
            osDelay(10);
            if ((GPIOC->IDR & (1 << 0)) == 0)
            {
                while ((GPIOC->IDR & (1 << 0)) == 0)
                {
                    osDelay(1);
                }
                /*do something*/

                vTaskSuspend(myTask_doingHandle); // 进入手掰模式
                vTaskResume(myTask_debugHandle);
                FSUS_DampingMode(&usart4, 1, 0);
                osDelay(100);
                FSUS_DampingMode(&usart4, 2, 0);
                osDelay(100);
                FSUS_DampingMode(&usart4, 3, 0);
                osDelay(100);
                FSUS_DampingMode(&usart4, 4, 0);
                osDelay(100);
                FSUS_DampingMode(&usart4, 5, 0);
                osDelay(100);
            }
        }
        if ((GPIOC->IDR & (1 << 1)) == 0)
        {
            osDelay(10);
            if ((GPIOE->IDR & (1 << 1)) == 0)
            {
                while ((GPIOE->IDR & (1 << 1)) == 0)
                {
                    osDelay(1);
                }
                /*do something*/

                vTaskResume(myTask_doingHandle); // 进入工作模式
                vTaskSuspend(myTask_debugHandle);
                servo_all_move(servo_motion[1]);
            }
        }
        osDelay(1);
    }
    /* USER CODE END key_Task */
}

/* USER CODE BEGIN Header_led_Task */
/**
 * @brief RGB led任务，用于显示当前状态
 * @param argument: Not used
 * @retval None
 */
/* USER CODE END Header_led_Task */
void led_Task(void const *argument)
{
    /* USER CODE BEGIN led_Task */
    /* Infinite loop */
    for (;;)
    {
        GPIOC->ODR ^= GPIO_PIN_2;
        osDelay(300);
    }
    /* USER CODE END led_Task */
}

/* USER CODE BEGIN Header_IMU_Task */
/**
 * @brief IMU数据处理任务、优先级较高，但收到二值信息量控制，当二值信息量被释放后，此任务才可以执行，
 * 信息量释放速度受宏定义IMU_speed控制。
 * @param argument: Not used
 * @retval None
 */
/* USER CODE END Header_IMU_Task */
void IMU_Task(void const *argument)
{
    /* USER CODE BEGIN IMU_Task */
    /* Infinite loop */
    int i;
    imu imu_car;
    OS_status = 1;
    HAL_UART_Receive_DMA(&huart2, IMU_date, IMU_speed);
    for (;;)
    {
        // 获取二值信号量 xSemaphore,没获取到则一直等待
        xSemaphoreTake(IMUdate_RX_Sem_Handle, portMAX_DELAY); /* 等待时间 */
        taskENTER_CRITICAL();
#ifdef JY61
        for (i = 0; i < IMU_speed; i++)
        {
            WitSerialDataIn(IMU_date[i]);
        }
        if (s_cDataUpdate)
        {
            for (i = 0; i < 3; i++)
            {
                imu_car.IMU[i] = sReg[Roll + i] / 32768.0f * 180.0f;
            }
        }
#else
        for (i = 0; i < IMU_speed; i++)
        {
            decode_succ = ch_serial_input(&raw, IMU_date[i]);
            if (decode_succ == 1)
                break;
        }

        if (decode_succ)
        {
            for (i = 0; i < 3; i++)
            {
                imu_car.IMU[i] = raw.imu[0].eul[i];
            }
        }
#endif
        HAL_UART_Receive_DMA(&huart2, IMU_date, IMU_speed);
        taskEXIT_CRITICAL();
        xQueueSend(IMU_Queue, &imu_car, 0);
        xQueueSend(angle_Queue, &imu_car, 0);
    }
    /* USER CODE END IMU_Task */
}

/* USER CODE BEGIN Header_deubg_Task */
/**
 * @brief 小车状态上传任务，使用串口一DMA发送，运行周期1000ms
 * @param argument: Not used
 * @retval None
 */
/* USER CODE END Header_deubg_Task */
void deubg_Task(void const *argument)
{
    /* USER CODE BEGIN deubg_Task */
    /* Infinite loop */
    imu imu_car;
    biu speed_now;
    biu speed_goal;
    float angle[5];
    uint16_t i = 0;
    for (;;)
    {

        xQueueReceive(IMU_Queue, &imu_car, 10);
        xQueueReceive(debug_Queue, &speed_goal, 10);
        xQueuePeek(Speed_Queue, &speed_now, 10);

        for (i = 0; i < 5; i++)
        {
            FSUS_QueryServoAngle(servoUsart, i + 1, &angle[i]);
            osDelay(10);
        }

        taskENTER_CRITICAL();
        //        sprintf((char *)debug_date, "%.2f,%.2f,%.2f,%d,%d,%d,%d,%d,%d,%d,%d\n",
        //                imu_car.IMU[0], imu_car.IMU[1], imu_car.IMU[2],
        //                speed_now.date[0], speed_goal.date[0], speed_now.date[1], speed_goal.date[1],
        //                speed_now.date[2], speed_goal.date[2], speed_now.date[3], speed_goal.date[3]);
        sprintf((char *)debug_date, "%.1f,%.1f,%.1f,%.1f,%.1f,%.2f\n", angle[0], angle[1], angle[2], angle[3], angle[4], imu_car.IMU[2]);
        HAL_UART_Transmit_DMA(&huart1, debug_date, strlen((char *)debug_date));
        taskEXIT_CRITICAL();

        osDelay(10);
    }
    /* USER CODE END deubg_Task */
}

void debug_get_Task(void const *argument)
{
    /* USER CODE BEGIN motor_Task */
    /* Infinite loop */
    for (;;)
    {
        osDelay(10);
    }
    /* USER CODE END motor_Task */
}

void usart_Task(void const *argument)
{
    /* USER CODE BEGIN usart_Task */
    /* Infinite loop */

    taskENTER_CRITICAL();

    int i = 0, num, sign = 0;
    int16_t x = 0;
    int16_t y = 0;
    int16_t wide = 0;
    int16_t height = 0;

    char *f = (char *)&x;
    char *h = (char *)&y;
    char *u = (char *)&wide;
    char *q = (char *)&height;
    biu_int_16 color_date;
    IDR_date IDR_date_get;
    HAL_UART_Receive_DMA(&huart3, usart_3_date, 22);
    HAL_UART_Receive_DMA(&huart6, usart_6_date, 22);

    taskEXIT_CRITICAL();

    for (;;)
    {
        // USART3
        if (xSemaphoreTake(usart3_RX_Sem_Handle, 10) == pdTRUE) /* 等待时间 */
        {
            vTaskSuspendAll();
            for (i = 0; i < 8; i++)
            {
                if (usart_3_date[i] == 0X2C && usart_3_date[i + 10] == 0X5B)
                {
                    num = i;
                    if (usart_3_date[num + 1] == 0X12)
                        sign = 1;
                    else if (usart_3_date[num + 1] == 0X21)
                        sign = 2;
                    else
                        sign = 0;
                    break;
                }
                sign = 0;
            }
            HAL_UART_Transmit_DMA(&huart1, usart_3_date, 22);
            if (sign == 1)
            {

                for (i = 0; i < 2; i++)
                {
                    *(f + i) = *(usart_3_date + num + i + 2);
                }
                //          i=*(f);*(f)=*(f+1);*(f+1)=i;

                for (i = 0; i < 2; i++)
                {
                    *(h + i) = *(usart_3_date + num + i + 4);
                }
                for (i = 0; i < 2; i++)
                {
                    *(u + i) = *(usart_3_date + num + i + 6);
                }
                for (i = 0; i < 2; i++)
                {
                    *(q + i) = *(usart_3_date + num + i + 8);
                }
                //          i=*(h);*(h)=*(h+1);*(h+1)=i;
                if ((x != 520 && y != 520) && (y != 9))
                {
                    color_date.date[0] = x;
                    color_date.date[1] = y;
                    color_date.date[2] = 11;
                    color_date.date[3] = height;
                    xQueueSend(color_Queue, &color_date, 0);
                }
                else
                {
                    // error
                }
            }
            else if (sign == 2)
            {
                usart_3_date[num + 6] = usart_3_date[num + 7];
                usart_3_date[num + 7] = usart_3_date[num + 8];
                usart_3_date[num + 8] = usart_3_date[num + 9];
                x = 0;
                for (i = 0; i < 6; i++)
                {
                    if (usart_3_date[num + 3 + i] == '1')
                        x |= 0X01 << (5 - i) * 2;
                    else if (usart_3_date[num + 3 + i] == '2')
                        x |= 0X02 << (5 - i) * 2;
                    else if (usart_3_date[num + 3 + i] == '3')
                        x |= 0X03 << (5 - i) * 2;
                    else
                    {
                        x = 0;
                        break;
                    }
                }
                if (x != 0)
                {
                    if ((x & 3 << 0) != ((x & 3 << 2) >> 2) && (x & 3 << 0) != ((x & 3 << 4) >> 4) && (x & 3 << 2) >> 2 != ((x & 3 << 4) >> 4))
                    {

                        color_date.date[3] = x;
                        color_date.date[2] = 22;
                        xQueueSend(color_Queue, &color_date, 0);
                    }
                    else
                    {
                        // error
                    }
                }
            }

            HAL_UART_Receive_DMA(&huart3, usart_3_date, 22);
            xTaskResumeAll();
        }

        // USART6
        if (xSemaphoreTake(usart6_RX_Sem_Handle, 10) == pdTRUE) /* 等待时间 */
        {
            vTaskSuspendAll();
            i = 0;
            if (usart_6_date[0] == '#' && usart_6_date[10] == '&')
            {
                num = 0;
                if (usart_6_date[5] == '!')
                    sign = 1;
                else
                    sign = 0;
            }

            //            HAL_UART_Transmit_DMA(&huart1, usart_6_date, 12);
            // usart_6_date[11]='\0';
            // printf("%s\n",usart_6_date);
            if (sign == 1)
            {

                for (num = i + 1; usart_6_date[num] != '!' && num < i + 1 + 5; num++)
                {
                    if (usart_6_date[num] < '0')
                    {
                        ;
                    }
                    else
                        usart_6_date[num] = usart_6_date[num] - '0';
                }
                if (num < i + 1 + 5)
                    IDR_date_get.IDR_X = (usart_6_date[i + 1]) * 1000 + (usart_6_date[i + 2]) * 100 + (usart_6_date[i + 3]) * 10 + (usart_6_date[i + 4]);

                for (num = i + 6; usart_6_date[num] != '&' && num < i + 6 + 5; num++)
                {
                    if (usart_6_date[num] < '0')
                    {
                        ;
                    }
                    else
                        usart_6_date[num] = usart_6_date[num] - '0';
                }
                if (num < i + 6 + 5)
                    IDR_date_get.IDR_Y = (usart_6_date[i + 6]) * 1000 + (usart_6_date[i + 7]) * 100 + (usart_6_date[i + 8]) * 10 + (usart_6_date[i + 9]);

                // printf("%d %d\n", IDR_date_get.IDR_X, IDR_date_get.IDR_Y);
                xQueueSend(IDR_date_Queue, &IDR_date_get, 0);
            }
            else if (sign == 2)
            {
                printf("error1\n");
            }
            else
            {
                printf("error2\n");
            }
            HAL_UART_Receive_DMA(&huart6, usart_6_date, 11);
            xTaskResumeAll();
        }
        osDelay(10);
    }
    /* USER CODE END usart_Task */
}

void oled_Task(void const *argument)
{
    /* USER CODE BEGIN oled_Task */
    /* Infinite loop */
    for (;;)
    {
        osDelay(100);
    }
    /* USER CODE END oled_Task */
}

void servo_Task(void const *argument)
{
    /* USER CODE BEGIN servo_Task */
    /* Infinite loop */

    uint16_t time = 0;
    uint8_t servo_id = 0, i = 0;

    static servo_status servo;
    for (;;)
    {
        xQueueReceive(servo_Queue, &servo, portMAX_DELAY);
        if (servo.time == 0)
            time = 1000;
        else
            time = servo.time;
        for (i = 0; i < 6; i++)
        {
            servo_id = i;
            FSUS_SetServoAngle(servoUsart, servo_id + 1, servo.value_goal[i], time, 0, 0);
            osDelay(50);
        }
        osDelay(time / 2);

        xSemaphoreGive(Servo_Sem_Handle);

        osDelay(10);
    }
    /* USER CODE END servo_Task */
}

void speed_Task(void const *argument)
{
    /* USER CODE BEGIN speed_Task */
    /* Infinite loop */
    biu speed;
    static biu distance = {0, 0, 0, 0};
    uint8_t i = 0;
    for (;;)
    {

        vTaskSuspendAll();
        speed.date[0] = 6720 - TIM2->CNT;
        TIM2->CNT = 6720;

        speed.date[1] = TIM3->CNT - 6720;
        TIM3->CNT = 6720;

        speed.date[2] = 6720 - TIM4->CNT;
        TIM4->CNT = 6720;

        speed.date[3] = TIM5->CNT - 6720;
        TIM5->CNT = 6720;
        for (i = 0; i < 4; i++)
        {
            distance.date[i] += speed.date[i];
        }
        xTaskResumeAll();
        xQueueSend(Speed_Queue, &speed, 0); /* 等待时间 0 */
        xQueueSend(distance_Queue, &distance, 0);
        osDelay(10);
    }
    /* USER CODE END speed_Task */
}

void pid_Task(void const *argument)
{
    /* USER CODE BEGIN pid_Task */
    /* Infinite loop */
    biu speed_goal;
    biu speed_now;

    for (;;)
    {
        xQueueReceive(Speed_Queue, /* 消息队列的句柄 */
                      &speed_now,  /* 发送的消息内容 */
                      5);          /* 等待时间 一直等 */
        xQueueReceive(goal_Queue,  /* 消息队列的句柄 */
                      &speed_goal, /* 发送的消息内容 */
                      5);          /* 等待时间 一直等 */

        taskENTER_CRITICAL();

        pid_do(speed_goal, speed_now);

        taskEXIT_CRITICAL();

        osDelay(10);
    }
    /* USER CODE END pid_Task */
}

void doing_Task(void const *argument)
{
    /* USER CODE BEGIN doing_Task */
    /* Infinite loop */

    imu imu_date;     // 陀螺仪数据结构体
    biu distance_now; // 距离记录结构体
    biu_int_16 color_date;
    IDR_date IDR_date_use, IDR_date_goal;

    static int back_sign = 0;
    static int16_t distance_use = 0;

    static uint8_t Task_select = Start, color_sign = 0; // 执行调度参数

    static float angle_adjust = 0;

    int8_t color[6] = {0}; // 颜色顺序存储

    uint8_t Arm_do_order = 0,
            servo_sign,
            V831_1_status = 0,
            center_color_sign = 0,
            color_sign_now,
            target_location_sign = 0;
    vTaskSuspend(myTask_debugHandle);
    UNUSED_VARIABLE(distance_use);
    Task_verify = Task_select = Start;
    speed_CTRL(0, 0, 0, 0);
    for (;;)
    {
        xQueueReceive(angle_Queue, &imu_date, 10);        /* 等待时间 10 */
        xQueueReceive(distance_Queue, &distance_now, 10); /* 等待时间 10 */
        xQueueReceive(IDR_date_Queue, &IDR_date_use, 10); /* 等待时间 10 */
        //      imu_date.IMU[2]=0;
        if (xSemaphoreTake(Servo_Sem_Handle, 0) == pdTRUE)
            servo_sign = 1;

        if (xQueueReceive(color_Queue, &color_date, 0) == pdTRUE)
        {
            V831_1_status = 1;
        }

        Task_select = Task_select == Task_verify ? Task_select : Task_verify;

        switch (Task_select)
        {
        case Start:
            if (advance_angle_distance(0, imu_date, distance_now, 270) == 1) // 离开出发点前进28cm
            {
                speed_CTRL(0, 0, 0, 0);
                Task_select = Task_verify = Start_Calibration;
            }
            break;

        case Start_Calibration:
            if (direction_Set(0, imu_date) == 1)
            {
                speed_CTRL(0, 0, 0, 0);
                vTaskSuspendAll();
                Task_select = To_QR_Code;
                Task_verify = To_QR_Code;
                //                V831_QuickMark_do();
                xTaskResumeAll();
            }
            break;

        case To_QR_Code:
            if (crosswise_angle_distance(0, imu_date, distance_now, 520) == 1) // 到达二维码扫描区
            {
                speed_CTRL(0, 0, 0, 0);
                vTaskSuspendAll();
                Task_select = At_QR_Code;
                Task_verify = At_QR_Code;
                //                V831_QuickMark_do();
                V831_1_status = 0;
                xTaskResumeAll();
            }

            break;

        case At_QR_Code: // 扫描二维码
            if (V831_1_status == 0)
            {
                V831_QuickMark_do();
                osDelay(200);
            }
            else
            {
                if (color_date.date[2] != 22)
                {
                    V831_die();
                    V831_1_status = 0;
                }
                else
                {
                    speed_CTRL(0, 0, 0, 0);
                    vTaskSuspendAll();
                    color[0] = (color_date.date[3] & (3 << 10)) >> 10;
                    color[1] = (color_date.date[3] & (3 << 8)) >> 8;
                    color[2] = (color_date.date[3] & (3 << 6)) >> 6;
                    color[3] = (color_date.date[3] & (3 << 4)) >> 4;
                    color[4] = (color_date.date[3] & (3 << 2)) >> 2;
                    color[5] = (color_date.date[3] & (3 << 0)) >> 0;
                    xTaskResumeAll();

                    V831_die();
                    vTaskSuspendAll();
                    Task_select = QR_Code_turn;
                    Task_verify = QR_Code_turn;
                    V831_1_status = 0;
                    // servo_all_move(servo_motion[2]);
                    xTaskResumeAll();
                    Task_select = To_RMA;
                    Task_verify = To_RMA;
                }
            }
            break;
        case To_RMA:
            if (advance_angle_distance(0, imu_date, distance_now, 465) == 1)
            {
                speed_CTRL(0, 0, 0, 0);
                vTaskSuspendAll();
                Task_select = Do_capture;
                Task_verify = Do_capture;
                V831_1_status = 0;
                IDR_date_goal.IDR_X = 1105;
                IDR_date_goal.IDR_Y = 1808;
                V831_die();
                xTaskResumeAll();
            }
            break;
        case Do_capture:
            if (abs(IDR_date_goal.IDR_X - IDR_date_use.IDR_X) > 5 && abs(IDR_date_goal.IDR_Y - IDR_date_use.IDR_Y) > 5)
            {
                vTaskSuspendAll();
                back_sign = Do_capture;
                Task_select = target_location;
                Task_verify = target_location;
                xTaskResumeAll();
            }
            else
            {
                vTaskSuspendAll();
                Task_select = At_RMA;
                Task_verify = At_RMA;
                V831_1_status = 0;
                V831_die();
                xTaskResumeAll();
            }
            break;
        case At_RMA: // 原料区拿取物料
            if (V831_1_status == 0)
            {
                osDelay(500);
                V831_Color_Find_do();
            }
            else
            {
                if (color_date.date[2] != 11)
                {
                    V831_die();
                    V831_1_status = 0;
                    osDelay(500);
                }
                else
                {
                    speed_CTRL(0, 0, 0, 0);
                    vTaskSuspendAll();
                    Task_select = Task_verify = Take_color_thing;
                    xTaskResumeAll();
                }
            }

            break;
        case Take_color_thing:
        {
            switch (Arm_do_order)
            {
            case 0:
                if (servo_sign == 1)
                {
                    servo_sign = 0;
                    Arm_do_order++;
                }
                else
                {
                    servo_all_move(servo_motion[0]);
                    osDelay(servo_motion[0].time);
                }
                break;
            case 1: // 抓取第一步
                if (servo_sign == 1)
                {
                    servo_sign = 0;
                    Arm_do_order++;
                }
                else
                {
                    if (color_sign == 3)
                    {
                        Arm_do_order = 250;
                    }
                    else
                    {
                        servo_all_move(servo_motion[4]);
                        osDelay(servo_motion[4].time + 500);
                    }
                }
                break;
            case 2:
                if (color[color_sign] == color_date.date[1])
                {
                    color_sign++;
                    Arm_do_order++;
                    color_sign_now = color_date.date[1];
                }
                else
                {
                    printf("%d,%d\n", color[color_sign], color_date.date[1]);
                    osDelay(100);
                }

                break;
            case 3: // 抓取第二步
                if (servo_sign == 1)
                {
                    servo_sign = 0;
                    Arm_do_order++;
                }
                else
                {

                    servo_all_move(servo_motion[5]);
                    osDelay(servo_motion[5].time + 500);
                }
                break;
            case 4: // 抓取第三步
                if (servo_sign == 1)
                {
                    servo_sign = 0;
                    Arm_do_order++;
                }
                else
                {
                    servo_all_move(servo_motion[6]);
                    osDelay(servo_motion[6].time + 500);
                }
                break;
            case 5: // 抓取第四步
                if (servo_sign == 1)
                {
                    servo_sign = 0;
                    Arm_do_order++;
                }
                else
                {
                    servo_all_move(servo_motion[7]);
                    osDelay(servo_motion[7].time + 500);
                }
                break;
            case 6:
                switch (color_sign_now)
                {
                case 1:
                    Arm_do_order = 11;
                    break;
                case 2:
                    Arm_do_order = 33;
                    break;
                case 3:
                    Arm_do_order = 22;
                    break;
                }
                break;
            case 11:
                if (servo_sign == 1)
                {
                    servo_sign = 0;
                    Arm_do_order++;
                }
                else
                {
                    servo_all_move(servo_motion[8]);
                    osDelay(servo_motion[8].time + 200);
                }
                break;
            case 12:
                if (servo_sign == 1)
                {
                    servo_sign = 0;
                    Arm_do_order++;
                }
                else
                {
                    servo_all_move(servo_motion[9]);
                    osDelay(servo_motion[9].time + 200);
                }
                break;
            case 13:
                if (servo_sign == 1)
                {
                    servo_sign = 0;
                    Arm_do_order++;
                }
                else
                {
                    servo_all_move(servo_motion[10]);
                    osDelay(servo_motion[10].time + 200);
                }
                break;
            case 14:
                if (servo_sign == 1)
                {
                    servo_sign = 0;
                    Arm_do_order = 0;
                }
                else
                {
                    servo_all_move(servo_motion[11]);
                    osDelay(servo_motion[11].time + 200);
                }
                break;
            case 22:
                if (servo_sign == 1)
                {
                    servo_sign = 0;
                    Arm_do_order++;
                }
                else
                {
                    servo_all_move(servo_motion[12]);
                    osDelay(servo_motion[12].time + 200);
                }
                break;
            case 23:
                if (servo_sign == 1)
                {
                    servo_sign = 0;
                    Arm_do_order++;
                }
                else
                {
                    servo_all_move(servo_motion[13]);
                    osDelay(servo_motion[13].time + 200);
                }
                break;
            case 24:
                if (servo_sign == 1)
                {
                    servo_sign = 0;
                    Arm_do_order++;
                }
                else
                {
                    servo_all_move(servo_motion[14]);
                    osDelay(servo_motion[14].time + 200);
                }
                break;
            case 25:
                if (servo_sign == 1)
                {
                    servo_sign = 0;
                    Arm_do_order = 0;
                }
                else
                {
                    servo_all_move(servo_motion[15]);
                    osDelay(servo_motion[15].time + 200);
                }
                break;
            case 33:
                if (servo_sign == 1)
                {
                    servo_sign = 0;
                    Arm_do_order++;
                }
                else
                {
                    servo_all_move(servo_motion[16]);
                    osDelay(servo_motion[16].time + 200);
                }
                break;
            case 34:
                if (servo_sign == 1)
                {
                    servo_sign = 0;
                    Arm_do_order++;
                }
                else
                {
                    servo_all_move(servo_motion[17]);
                    osDelay(servo_motion[17].time + 200);
                }
                break;
            case 35:
                if (servo_sign == 1)
                {
                    servo_sign = 0;
                    Arm_do_order++;
                }
                else
                {
                    servo_all_move(servo_motion[18]);
                    osDelay(servo_motion[18].time + 200);
                }
                break;
            case 36:
                if (servo_sign == 1)
                {
                    servo_sign = 0;
                    Arm_do_order = 0;
                }
                else
                {
                    servo_all_move(servo_motion[19]);
                    osDelay(servo_motion[19].time + 200);
                }
                break;

            case 250:
                //                servo_all_move(servo_motion[1]);
                osDelay(servo_motion[1].time);
                // Arm_do_order++;
                //                servo_all_move(servo_motion[20]);
                break;

            default:
                Task_select = Task_verify = To_Turn_1;
                break;
            }
        }
        break;

        case To_Turn_1:
            if (advance_angle_distance(0, imu_date, distance_now, 400) == 1) // 转向1
            {
                Task_select = Task_verify = At_Turn_1;
                //                servo_all_move(servo_motion[21]);
                osDelay(servo_motion[21].time);
            }
            break;

        case At_Turn_1:
            if (direction_Set(0, imu_date) == 1)
            {
                vTaskSuspendAll();
                Task_select = Task_verify = To_Put_down_1;
                xTaskResumeAll();
            }
            break;

        case To_Put_down_1:

            if (crosswise_angle_distance(angle_adjust, imu_date, distance_now, -940) == 1) // 放下1
            {

                vTaskSuspendAll();
                IDR_date_goal.IDR_X = 1000;
                IDR_date_goal.IDR_Y = 2000;
                Task_select = Task_verify = At_Put_down_1;
                xTaskResumeAll();
            }
            break;

        case At_Put_down_1: // 到达半加工区，进行激光校准
            if (abs(IDR_date_goal.IDR_X - IDR_date_use.IDR_X) > 5 && abs(IDR_date_goal.IDR_Y - IDR_date_use.IDR_Y) > 5)
            {
                vTaskSuspendAll();
                back_sign = Do_capture;
                Task_select = target_location;
                Task_verify = target_location;

                xTaskResumeAll();
            }
            else
            {
                vTaskSuspendAll();
                angle_adjust = imu_date.IMU[2];
                servo_sign = 0;
                // servo_all_move(servo_motion[1]);
                Task_select = At_Put_down_1_2;
                Task_verify = At_Put_down_1_2;
                xTaskResumeAll();
                // osDelay(servo_motion[1].time);
            }
            break;

        case At_Put_down_1_2: // 到达半加工区，进行色环校准
            osDelay(200);

            break;
        case target_location:
            if (abs(IDR_date_goal.IDR_X - IDR_date_use.IDR_X) > 5)
            {
                if (IDR_date_goal.IDR_X - IDR_date_use.IDR_X > 0)
                    advance_angle(0, imu_date, 50);
                else
                    advance_angle(0, imu_date, -50);
            }
            else if (abs(IDR_date_goal.IDR_Y - IDR_date_use.IDR_Y) > 5)
            {
                if (IDR_date_goal.IDR_Y - IDR_date_use.IDR_Y > 0)
                    crosswise_angle(0, imu_date, 50);
                else
                    crosswise_angle(0, imu_date, -50);
            }
            else
            {
                speed_CTRL(0, 0, 0, 0);
                osDelay(200);
                if (target_location_sign < 3)
                {
                    if (abs(IDR_date_goal.IDR_X - IDR_date_use.IDR_X) < 5 && abs(IDR_date_goal.IDR_Y - IDR_date_use.IDR_Y) < 5)
                        target_location_sign++;
                    break;
                }
                Task_select = back_sign;
                Task_verify = back_sign;
            }
            break;
        default:
            vTaskSuspend(NULL);
            break;
        }

        osDelay(10);
    }
    /* USER CODE END doing_Task */
}

/************************ (C) COPYRIGHT STMicroelectronics *****END OF FILE****/
